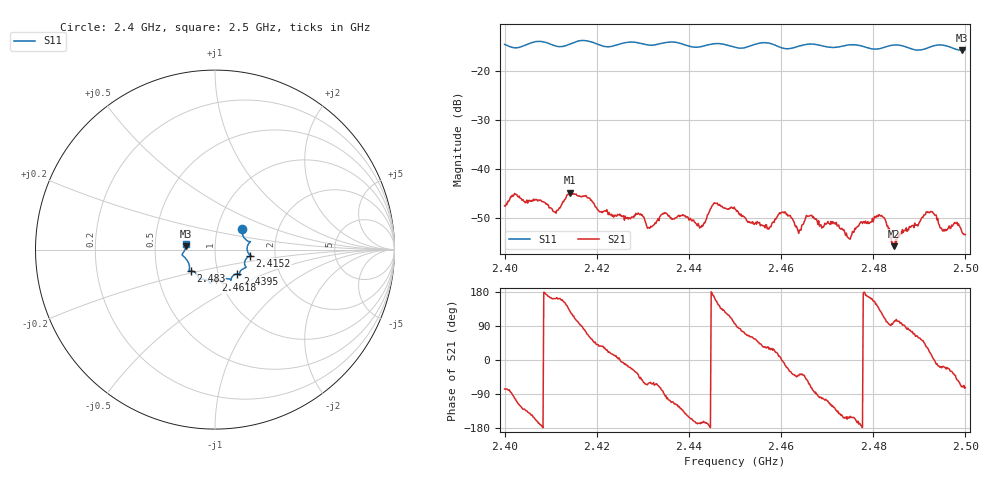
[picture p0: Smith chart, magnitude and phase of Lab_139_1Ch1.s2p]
# Hz S RI R 50
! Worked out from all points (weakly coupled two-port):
!   601 points, 2.4 GHz to 2.5 GHz, reference 50 ohm
!   highest |S21| = -44.77 dB at 2.4142 GHz (marker M1); lowest = -55.7 dB at 2.4845 GHz (marker M2)
!   lowest |S11| = -15.7 dB at 2.4992 GHz (marker M3), VSWR 1.39, Z = 35.9 + j1.35 ohm
!   |S11| at or under -10 dB: start of sweep to end of sweep
!   S12 and S22 are empty: the file has one direction only
!   S11 on the Smith chart (normalised r, x): 2.4 GHz: 1.31, +0.31; 2.4152 GHz: 1.48, -0.10; 2.4395 GHz: 1.23, -0.35; 2.4618 GHz: 0.95, -0.33; 2.483 GHz: 0.74, -0.18; 2.5 GHz: 0.72, +0.05
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2.4e9  0.1506 0.1134  0.000986 -0.00412  0 0  0 0
2.402167e9  0.1552 0.0787  -0.00109 -0.00556  0 0  0 0
2.411e9  0.1808 0.02  -0.00348 0.00115  0 0  0 0
2.414167e9  0.1887 -0.0242  -0.00366 0.00447  0 0  0 0
2.415167e9  0.1959 -0.0329  -0.00196 0.00522  0 0  0 0
2.416667e9  0.2031 -0.0379  6.1e-05 0.00522  0 0  0 0
2.433333e9  0.1369 -0.1313  0.0012 -0.0029  0 0  0 0
2.4395e9  0.1246 -0.1356  -0.00267 -0.00188  0 0  0 0
2.442667e9  0.0957 -0.1512  -0.00247 -0.000695  0 0  0 0
2.45e9  0.069 -0.1618  -0.000392 0.00392  0 0  0 0
2.457e9  0.0438 -0.1905  0.00203 0.00139  0 0  0 0
2.461833e9  0.0038 -0.1707  0.00292 -0.00166  0 0  0 0
2.463833e9  -0.0191 -0.1797  0.00166 -0.00147  0 0  0 0
2.466667e9  -0.026 -0.1884  0.000956 -0.00325  0 0  0 0
2.474833e9  -0.0842 -0.1663  -0.00175 -0.000891  0 0  0 0
2.480833e9  -0.1135 -0.1251  -0.00271 0.00201  0 0  0 0
2.483e9  -0.1354 -0.1182  -0.000499 0.00258  0 0  0 0
2.483333e9  -0.1381 -0.118  -0.000231 0.00238  0 0  0 0
2.4845e9  -0.1438 -0.1175  -0.000298 0.00161  0 0  0 0
2.492e9  -0.1697 -0.0428  0.00325 0.00167  0 0  0 0
2.499167e9  -0.1633 0.0182  0.000773 -0.00222  0 0  0 0
2.5e9  -0.1634 0.0328  0.00065 -0.00206  0 0  0 0
